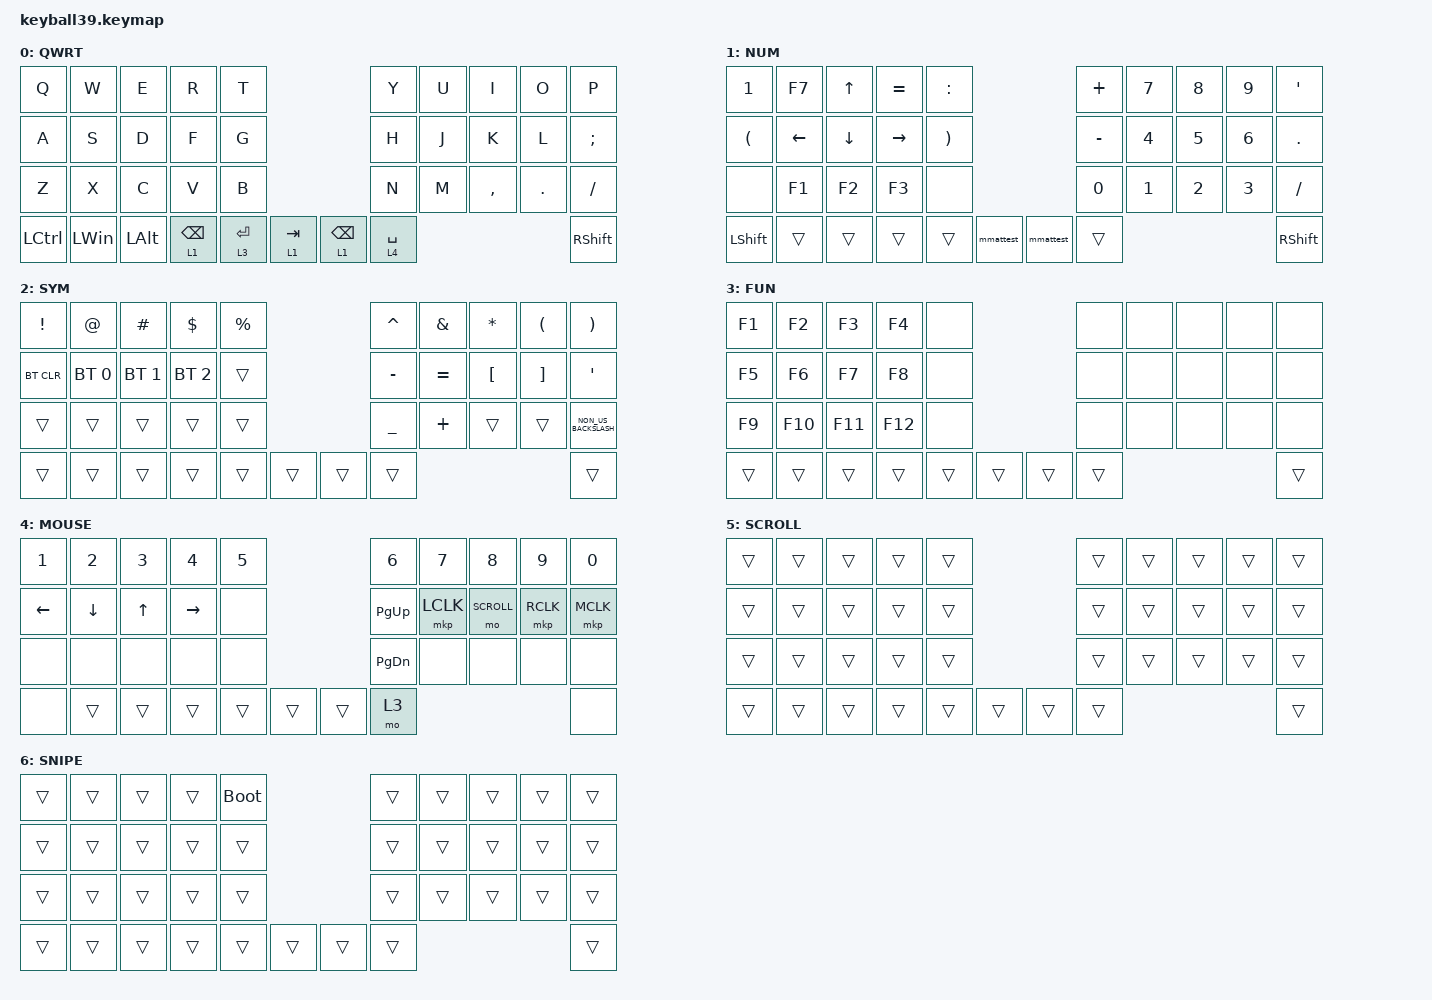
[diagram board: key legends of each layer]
#define DEFAULT 0
#define NUM     1
#define SYM     2
#define FUN     3
#define MOUSE   4
#define SCROLL  5
#define SNIPE   6

#include <behaviors/mouse_keys.dtsi>
#include <dt-bindings/zmk/mouse.h>
#include <behaviors.dtsi>
#include <dt-bindings/zmk/bt.h>
#include <dt-bindings/zmk/keys.h>
#include <dt-bindings/zmk/pointing.h>
#include <input/processors.dtsi> 

&lt {
    tapping-term-ms = <240>;
    flavor = "balanced";
    quick-tap-ms = <150>;
};

&mt {
    tapping-term-ms = <200>;
    flavor = "tap-preferred";
    quick-tap-ms = <150>;
};

&caps_word { continue-list = <UNDERSCORE MINUS>; };

/ {
    behaviors {
        cmqus: comma_question {
            compatible = "zmk,behavior-mod-morph";
            label = "COMMA_QUESTION";
            #binding-cells = <0>;
            bindings = <&kp COMMA>, <&kp QUESTION>;
            mods = <(MOD_LSFT|MOD_RSFT)>;
        };

        dtsmi: dot_semi {
            compatible = "zmk,behavior-mod-morph";
            label = "DOT_SEMI";
            #binding-cells = <0>;
            bindings = <&kp DOT>, <&kp SEMI>;
            mods = <(MOD_LSFT|MOD_RSFT)>;
        };
    };

    combos {
        compatible = "zmk,combos";
        pipe {
            bindings = <&altsae>;
            key-positions = <14 15>;
        };
    };

    macros {
        Hiragana: Hiragana {
            compatible = "zmk,behavior-macro";
            #binding-cells = <0>;
            bindings = <&kp LC(SPACE)>;
            label = "HIRAGANA";
        };
        altsae: altsae {
            compatible = "zmk,behavior-macro";
            #binding-cells = <0>;
            bindings = <&kp RA(LG(S)) &kp RA(LG(A)) &kp RA(LG(E))>;
            label = "ALTSAE";
        };
        mmattest: mmattest {
            compatible = "zmk,behavior-macro";
            #binding-cells = <0>;
            bindings =
                <&kp F2 &kp BACKSPACE &kp PERIOD &kp M &kp M &kp A &kp T &kp T &kp E &kp S &kp T>,
                <&macro_wait_time 500>,
                <&kp ENTER>,
                <&macro_wait_time 500>,
                <&kp F2>;
            label = "MMATTEST";
        };
    };

    keymap {
        compatible = "zmk,keymap";

        default_layer {
            label = "QWRT";
            bindings = <
&kp Q      &kp W         &kp E     &kp R         &kp T                                    &kp Y            &kp U  &kp I      &kp O    &kp P
&kp A      &kp S         &kp D     &kp F         &kp G                                    &kp H            &kp J  &kp K      &kp L    &kp SEMI
&kp Z      &kp X         &kp C     &kp V         &kp B                                    &kp N            &kp M  &kp COMMA  &kp DOT  &kp SLASH
&kp LCTRL  &kp LEFT_WIN  &kp LALT  &lt 1 BACKSPACE  &lt 3 ENTER  &lt 1 TAB  &lt 1 BACKSPACE  &lt 4 SPACE                             &kp RSHFT
            >;
        };

        number_layer {
            label = "NUM";
            bindings = <
&kp NUMBER_1  &kp F7        &kp UP        &kp EQUAL     &kp COLON                     &kp PLUS         &kp NUMBER_7   &kp NUMBER_8  &kp NUMBER_9  &kp APOSTROPHE
&kp LEFT_PARENTHESIS  &kp LEFT      &kp DOWN      &kp RIGHT     &kp RIGHT_PARENTHESIS &kp MINUS        &kp NUMBER_4   &kp NUMBER_5  &kp NUMBER_6  &kp PERIOD
&none         &kp F1        &kp F2        &kp F3        &none                         &kp NUMBER_0     &kp NUMBER_1   &kp NUMBER_2  &kp NUMBER_3  &kp SLASH
&kp LSHFT     &trans        &trans        &trans        &trans   &mmattest            &mmattest        &trans                                                  &kp RSHFT
            >;
        };

        symbol_layer {
            label = "SYM";
            bindings = <
&kp EXCLAMATION  &kp AT_SIGN   &kp HASH      &kp DOLLAR    &kp PERCENT                  &kp CARET       &kp AMPERSAND  &kp ASTERISK      &kp LEFT_PARENTHESIS  &kp RIGHT_PARENTHESIS
&bt BT_CLR       &bt BT_SEL 0  &bt BT_SEL 1  &bt BT_SEL 2  &trans                       &kp MINUS       &kp EQUAL      &kp LEFT_BRACKET  &kp RIGHT_BRACKET     &kp SQT
&trans           &trans        &trans        &trans        &trans                       &kp UNDERSCORE  &kp PLUS       &trans            &trans                &kp NON_US_BACKSLASH
&trans           &trans        &trans        &trans        &trans       &trans  &trans  &trans                                                                 &trans
            >;
        };

        function_layer {
            label = "FUN";
            bindings = <
&kp F1  &kp F2   &kp F3   &kp F4   &none                   &none   &none  &none  &none  &none
&kp F5  &kp F6   &kp F7   &kp F8   &none                   &none   &none  &none  &none  &none
&kp F9  &kp F10  &kp F11  &kp F12  &none                   &none   &none  &none  &none  &none
&trans  &trans   &trans   &trans   &trans  &trans  &trans  &trans                       &trans
            >;
        };

        mouse_layer {
            label = "MOUSE";
            bindings = <
&kp N1          &kp N2          &kp N3        &kp N4     &kp N5                  &kp N6         &kp N7     &kp N8  &kp N9     &kp N0
&kp LEFT_ARROW  &kp DOWN_ARROW  &kp UP_ARROW  &kp RIGHT  &none                   &kp PAGE_UP    &mkp LCLK  &mo SCROLL  &mkp RCLK  &mkp MCLK
&none           &none           &none         &none      &none                   &kp PAGE_DOWN  &none      &none   &none      &none
&none           &trans          &trans        &trans     &trans  &trans  &trans  &mo 3                                        &none
            >;
        };

        scroll_layer {
            label = "SCROLL";
            bindings = <
&trans  &trans  &trans  &trans  &trans                  &trans  &trans  &trans  &trans  &trans
&trans  &trans  &trans  &trans  &trans                  &trans  &trans  &trans  &trans  &trans
&trans  &trans  &trans  &trans  &trans                  &trans  &trans  &trans  &trans  &trans
&trans  &trans  &trans  &trans  &trans  &trans  &trans  &trans                          &trans
            >;
        };

        snipe_layer {
            label = "SNIPE";
            bindings = <
&trans  &trans  &trans  &trans  &bootloader                  &trans  &trans  &trans  &trans  &trans
&trans  &trans  &trans  &trans  &trans                       &trans  &trans  &trans  &trans  &trans
&trans  &trans  &trans  &trans  &trans                       &trans  &trans  &trans  &trans  &trans
&trans  &trans  &trans  &trans  &trans       &trans  &trans  &trans                          &trans
            >;
        };
    };
};

/* Safely override the shield's auto-mouse layer switch delay to 1000ms */
&zip_temp_layer {
    require-prior-idle-ms = <1000>;
};
